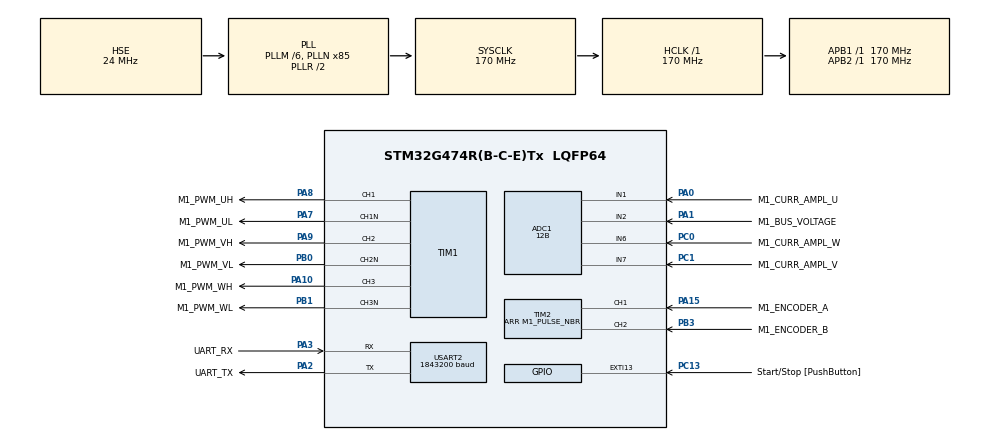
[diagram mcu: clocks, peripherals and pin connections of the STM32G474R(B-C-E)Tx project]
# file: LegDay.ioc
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ADC1.Channel-1\#ChannelRegularConversion=ADC_CHANNEL_2
ADC1.ClockPrescaler=ADC_CLOCK_ASYNC_DIV1
ADC1.ContinuousConvMode=DISABLE
ADC1.DMAContinuousRequests=DISABLE
ADC1.DataAlign=ADC_DATAALIGN_LEFT
ADC1.DiscontinuousConvMode=DISABLE
ADC1.EOCSelection=ADC_EOC_SINGLE_CONV
ADC1.EnableAnalogWatchDog1=false
ADC1.EnableAnalogWatchDog2=false
ADC1.EnableAnalogWatchDog3=false
ADC1.EnableInjectedConversion=ENABLE
ADC1.EnableRegularConversion=ENABLE
ADC1.ExternalTrigConv=ADC_SOFTWARE_START
ADC1.ExternalTrigConvEdge=ADC_EXTERNALTRIGCONVEDGE_NONE
ADC1.ExternalTrigInjecConv=ADC_EXTERNALTRIGINJEC_T1_TRGO
ADC1.ExternalTrigInjecConvEdge=ADC_EXTERNALTRIGINJECCONV_EDGE_RISING
ADC1.InjNumberOfConversion=3
ADC1.InjectedChannel-1\#ChannelInjectedConversion=ADC_CHANNEL_1
ADC1.InjectedChannel-2\#ChannelInjectedConversion=ADC_CHANNEL_7
ADC1.InjectedChannel-3\#ChannelInjectedConversion=ADC_CHANNEL_6
ADC1.InjectedConvMode=None
ADC1.InjectedOffset-1\#ChannelInjectedConversion=0
ADC1.InjectedOffset-2\#ChannelInjectedConversion=0
ADC1.InjectedOffset-3\#ChannelInjectedConversion=0
ADC1.InjectedOffsetNumber-1\#ChannelInjectedConversion=ADC_OFFSET_NONE
ADC1.InjectedOffsetNumber-2\#ChannelInjectedConversion=ADC_OFFSET_NONE
ADC1.InjectedOffsetNumber-3\#ChannelInjectedConversion=ADC_OFFSET_NONE
ADC1.InjectedRank-1\#ChannelInjectedConversion=1
ADC1.InjectedRank-2\#ChannelInjectedConversion=2
ADC1.InjectedRank-3\#ChannelInjectedConversion=3
ADC1.InjectedSamplingTime-1\#ChannelInjectedConversion=ADC_SAMPLETIME_6CYCLES_5
ADC1.InjectedSamplingTime-2\#ChannelInjectedConversion=ADC_SAMPLETIME_6CYCLES_5
ADC1.InjectedSamplingTime-3\#ChannelInjectedConversion=ADC_SAMPLETIME_6CYCLES_5
ADC1.LowPowerAutoWait=DISABLE
ADC1.NbrOfConversion=1
ADC1.NbrOfConversionFlag=1
ADC1.Offset-1\#ChannelRegularConversion=0
ADC1.OffsetNumber-1\#ChannelRegularConversion=ADC_OFFSET_NONE
ADC1.Overrun=ADC_OVR_DATA_PRESERVED
ADC1.Rank-1\#ChannelRegularConversion=1
ADC1.Resolution=ADC_RESOLUTION_12B
ADC1.SamplingTime-1\#ChannelRegularConversion=ADC_SAMPLETIME_47CYCLES_5
ADC1.ScanConvMode=ADC_SCAN_ENABLE
ADC1.master=1
Dma.Request0=USART2_RX
Dma.Request1=USART2_TX
Dma.USART2_RX.0.Direction=DMA_PERIPH_TO_MEMORY
Dma.USART2_RX.0.EventEnable=DISABLE
Dma.USART2_RX.0.Instance=DMA1_Channel1
Dma.USART2_RX.0.MemDataAlignment=DMA_MDATAALIGN_BYTE
Dma.USART2_RX.0.MemInc=DMA_MINC_ENABLE
Dma.USART2_RX.0.Mode=DMA_NORMAL
Dma.USART2_RX.0.PeriphDataAlignment=DMA_PDATAALIGN_BYTE
Dma.USART2_RX.0.PeriphInc=DMA_PINC_DISABLE
Dma.USART2_RX.0.Polarity=HAL_DMAMUX_REQ_GEN_RISING
Dma.USART2_RX.0.Priority=DMA_PRIORITY_LOW
Dma.USART2_RX.0.RequestNumber=1
Dma.USART2_RX.0.SignalID=NONE
Dma.USART2_RX.0.SyncEnable=DISABLE
Dma.USART2_RX.0.SyncPolarity=HAL_DMAMUX_SYNC_NO_EVENT
Dma.USART2_RX.0.SyncRequestNumber=1
Dma.USART2_RX.0.SyncSignalID=NONE
Dma.USART2_TX.1.Direction=DMA_MEMORY_TO_PERIPH
Dma.USART2_TX.1.EventEnable=DISABLE
Dma.USART2_TX.1.Instance=DMA1_Channel2
Dma.USART2_TX.1.MemDataAlignment=DMA_MDATAALIGN_BYTE
Dma.USART2_TX.1.MemInc=DMA_MINC_ENABLE
Dma.USART2_TX.1.Mode=DMA_NORMAL
Dma.USART2_TX.1.PeriphDataAlignment=DMA_PDATAALIGN_BYTE
Dma.USART2_TX.1.PeriphInc=DMA_PINC_DISABLE
Dma.USART2_TX.1.Polarity=HAL_DMAMUX_REQ_GEN_RISING
Dma.USART2_TX.1.Priority=DMA_PRIORITY_LOW
Dma.USART2_TX.1.RequestNumber=1
Dma.USART2_TX.1.SignalID=NONE
Dma.USART2_TX.1.SyncEnable=DISABLE
Dma.USART2_TX.1.SyncPolarity=HAL_DMAMUX_SYNC_NO_EVENT
Dma.USART2_TX.1.SyncRequestNumber=1
Dma.USART2_TX.1.SyncSignalID=NONE
ExtraMW=MotorControl
ExtraMW.MotorControl.Config=MotorControl
ExtraMW.MotorControl.Mode=MotorControl
ExtraMW.MotorControl.Root=MCSDK_v6.2.0-Full/MotorControl
ExtraMW.MotorControl.Template=templates
Mcu.Family=STM32G4
Mcu.Name=STM32G474R(B-C-E)Tx
Mcu.Package=LQFP64
MotorControl.ADC_AHBPERIPH=RCC_AHBPeriph_ADC1
MotorControl.ADC_CLOCK_WB_DIV=1
MotorControl.ADC_PERIPH=ADC1
MotorControl.ADC_REFERENCE_VOLTAGE=3.3
MotorControl.AUXILIARY_SPEED_MEASUREMENT_SELECTION=AUX_STATE_OBSERVER_PLL
MotorControl.AUX_STATE_OBSERVER_PLL=true
MotorControl.BOARD=NUCLEO-G474RE
MotorControl.BUS_VOLTAGE_READING=true
MotorControl.CCMRAM_ENABLED=false
MotorControl.CLOCK_FREQUENCY=CPU_CLK_170_MHZ
MotorControl.CLOCK_SOURCE=EXTERNAL
MotorControl.CPU_CLK_170_MHZ=true
MotorControl.CTLBOARD_NAME=NUCLEO-G474RE
MotorControl.CUBE_MX_VER=6.10.0
MotorControl.CURRENT_READING_TOPOLOGY=THREE_SHUNT
MotorControl.CURR_SAMPLING_TIME=6
MotorControl.DBG_MCU_LOAD_MEASURE=false
MotorControl.DEBUG_DAC_FUNCTIONALITY_EN=false
MotorControl.DRIVES_NUMBER_SELECTION=SINGLEDRIVE
MotorControl.DRIVE_NUMBER=1
MotorControl.DRIVE_TYPE=FOC
MotorControl.ENCODER=true
MotorControl.ENCODER_AVAILABLE=true
MotorControl.ENCODER_PPR=1024
MotorControl.ENC_A_GPIO_PIN=LL_GPIO_PIN_15
MotorControl.ENC_A_GPIO_PORT=GPIOA
MotorControl.ENC_B_GPIO_PIN=LL_GPIO_PIN_3
MotorControl.ENC_B_GPIO_PORT=GPIOB
MotorControl.ENC_ICx_FILTER=119
MotorControl.ENC_INVERT_SPEED=false
MotorControl.ENC_TIMER_SELECTION=ENC_TIM2
MotorControl.ENC_USE_CH3=false
MotorControl.EXT_CLK_24_MHZ=true
MotorControl.EXT_CLOCK_FREQUENCY=EXT_CLK_24_MHZ
MotorControl.FEEDBACK_NET_FILTERING=false
MotorControl.HALL_SENSORS_AVAILABLE=false
MotorControl.HIGH_SIDE_IDLE_STATE=false
MotorControl.HWV_CS=ThreeShunt_AmplifiedCurrents
MotorControl.HWV_PWM=DrivingHighAndLowSides
MotorControl.HW_COMPLEMENTED_LOW_SIDE=false
MotorControl.HW_DEAD_TIME_NS=1000
MotorControl.IPs=CORDIC,SYS,NVIC,RCC,MotorControl,TIM1,ADC1,TIM2,USART2,DMA
MotorControl.LOW_MEMORY_FOOTPRINT_REG=false
MotorControl.LOW_SIDE_IDLE_STATE=false
MotorControl.LOW_SIDE_SIGNALS_ENABLING=LS_PWM_TIMER
MotorControl.M1_ALIGNMENT_ANGLE_DEG=90
MotorControl.M1_ALIGNMENT_DURATION=700
MotorControl.M1_AMPLIFICATION_GAIN=20
MotorControl.M1_ANGC={0,0,0,0,0,0,0,0}
MotorControl.M1_AUXILIARY_SPEED_SENSOR=STO_PLL
MotorControl.M1_BEMF_CONSISTENCY_GAIN=64
MotorControl.M1_BEMF_CONSISTENCY_TOL=64
MotorControl.M1_BOARD_MAX_CURRENT=10
MotorControl.M1_BUS_VOLTAGE_READING=true
MotorControl.M1_CONSTANT1_D=18411
MotorControl.M1_CONSTANT1_Q=18411
MotorControl.M1_CONSTANT2_QD=9380
MotorControl.M1_CS_ADC_NUM=1
MotorControl.M1_CS_ADC_PHASE_SHARED=NONE
MotorControl.M1_CS_ADC_U=ADC1
MotorControl.M1_CS_ADC_V=ADC1
MotorControl.M1_CS_ADC_W=ADC1
MotorControl.M1_CS_CHANNEL_U=1
MotorControl.M1_CS_CHANNEL_V=7
MotorControl.M1_CS_CHANNEL_W=6
MotorControl.M1_CURRENT_AMPLIFICATION_TOPO=EXTERNAL
MotorControl.M1_CURRENT_SENSING_TOPO=THREE_SHUNT
MotorControl.M1_CURR_SAMPLING_TIME=6
MotorControl.M1_DBG_OPEN_LOOP_ENABLE=false
MotorControl.M1_DC_CURRENT_RS_MEAS=10
MotorControl.M1_DEFAULT_CONTROL_MODE=STC_SPEED_MODE
MotorControl.M1_DEFAULT_FLUX_COMPONENT=0
MotorControl.M1_DEFAULT_TARGET_SPEED_RPM=892
MotorControl.M1_DEFAULT_TORQUE_COMPONENT=0
MotorControl.M1_DISCONTINUOUS_PWM=false
MotorControl.M1_DP_TOPOLOGY=NONE
MotorControl.M1_DRIVE_TYPE=FOC
MotorControl.M1_ENCODER_PPR=1024
MotorControl.M1_ENC_AVERAGING_FIFO_DEPTH=16
MotorControl.M1_ENC_A_GPIO_PIN=LL_GPIO_PIN_15
MotorControl.M1_ENC_A_GPIO_PORT=GPIOA
MotorControl.M1_ENC_B_GPIO_PIN=LL_GPIO_PIN_3
MotorControl.M1_ENC_B_GPIO_PORT=GPIOB
MotorControl.M1_ENC_ICx_FILTER=119
MotorControl.M1_ENC_TIMER_SELECTION=ENC_TIM2
MotorControl.M1_ENC_USE_CH3=false
MotorControl.M1_F1=8192
MotorControl.M1_F2=16384
MotorControl.M1_FEED_FORWARD_CURRENT_REG_ENABLING=false
MotorControl.M1_FINAL_I_ALIGNMENT=10
MotorControl.M1_FLUX_WEAKENING_ENABLING=false
MotorControl.M1_FW_KIDIV=32768
MotorControl.M1_FW_KI_GAIN=5000
MotorControl.M1_FW_KPDIV=32768
MotorControl.M1_FW_KP_GAIN=3000
MotorControl.M1_FW_VOLTAGE_REF=985
MotorControl.M1_GAIN1=-11321
MotorControl.M1_GAIN2=8442
MotorControl.M1_HALL_PHASE_SHIFT=300
MotorControl.M1_HALL_SENSORS_PLACEMENT=DEGREES_120
MotorControl.M1_HIGH_SIDE_IDLE_STATE=false
MotorControl.M1_HW_DEAD_TIME_NS=1000
MotorControl.M1_ICL_ENABLED=false
MotorControl.M1_ID_DEMAG=-10
MotorControl.M1_IQMAX=10
MotorControl.M1_LDLQ_RATIO=1.000
MotorControl.M1_LOW_SIDE_IDLE_STATE=false
MotorControl.M1_LOW_SIDE_SIGNALS_ENABLING=LS_PWM_TIMER
MotorControl.M1_LS=0.00006
MotorControl.M1_MAX_APPLICATION_SPEED=2478
MotorControl.M1_MAX_MODULATION_INDEX=100
MotorControl.M1_MIN_APPLICATION_SPEED=0
MotorControl.M1_MOTOR_MAX_SPEED_RPM=2478
MotorControl.M1_MOTOR_NAME=MN5008
MotorControl.M1_MOTOR_RATED_FLUX=0.018109531
MotorControl.M1_MOTOR_VOLTAGE_CONSTANT=5.2
MotorControl.M1_MTPA_ENABLING=false
MotorControl.M1_NOMINAL_BUS_VOLTAGE_V=30
MotorControl.M1_NOMINAL_CURRENT=10
MotorControl.M1_OCP_TOPOLOGY=NONE
MotorControl.M1_OFST={0,0,0,0,0,0,0,0}
MotorControl.M1_ON_OVER_VOLTAGE=TURN_OFF_PWM
MotorControl.M1_OVERMODULATION=false
MotorControl.M1_OVP_THRESHOLD_HIGH=36
MotorControl.M1_OV_VOLTAGE_PROT_ENABLING=true
MotorControl.M1_OV_VOLTAGE_THRESHOLD_V=36
MotorControl.M1_PID_FLUX_KD_DEFAULT=100
MotorControl.M1_PID_FLUX_KI_DEFAULT=730
MotorControl.M1_PID_FLUX_KP_DEFAULT=2317
MotorControl.M1_PID_SPEED_KD_DEFAULT=0
MotorControl.M1_PID_SPEED_KI_DEFAULT=1
MotorControl.M1_PID_SPEED_KP_DEFAULT=2731
MotorControl.M1_PID_TORQUE_KD_DEFAULT=100
MotorControl.M1_PID_TORQUE_KI_DEFAULT=730
MotorControl.M1_PID_TORQUE_KP_DEFAULT=2317
MotorControl.M1_PLL_KI_GAIN=51
MotorControl.M1_PLL_KP_GAIN=1154
MotorControl.M1_POLE_PAIR_NUM=14
MotorControl.M1_POSITION_CTRL_ENABLING=false
MotorControl.M1_POTENTIOMETER_ENABLE=false
MotorControl.M1_POWERBOARD_NAME=~BOOSTXL-DRV8323Rx
MotorControl.M1_PWM_CHARGE_BOOT_CAP_DUTY_CYCLES=0.000
MotorControl.M1_PWM_CHARGE_BOOT_CAP_MS=10
MotorControl.M1_PWM_DRIVER_PN=DRV8323
MotorControl.M1_PWM_FREQUENCY=16000
MotorControl.M1_PWM_TIMER_BRK_IRQ=TIM1_BRK_TIM15
MotorControl.M1_PWM_TIMER_SELECTION=PWM_TIM1
MotorControl.M1_PWM_TIMER_UP_IRQ=TIM1_UP_TIM16
MotorControl.M1_REGULATION_EXECUTION_RATE=1
MotorControl.M1_RS=0.15
MotorControl.M1_RSHUNT=0.007
MotorControl.M1_SEGDIV=0
MotorControl.M1_SHARED_SIGNAL_ENABLE=false
MotorControl.M1_SPD_DIFFERENTIAL_TERM_ENABLING=false
MotorControl.M1_SPEED_LOOP_FREQUENCY_HZ=1000
MotorControl.M1_SPEED_SENSOR=QUAD_ENCODER
MotorControl.M1_SP_KDDIV=16
MotorControl.M1_SP_KIDIV=16384
MotorControl.M1_SP_KPDIV=2048
MotorControl.M1_SS_MEAS_ERRORS_BEFORE_FAULTS=3
MotorControl.M1_STO_FIFO_DEPTH_01HZ=64
MotorControl.M1_STO_FIFO_DEPTH_DPP=64
MotorControl.M1_SW_DEADTIME_NS=850
MotorControl.M1_TEMPERATURE_READING=false
MotorControl.M1_TF_KDDIV=8192
MotorControl.M1_TF_KIDIV=16384
MotorControl.M1_TF_KPDIV=8192
MotorControl.M1_TNOISE_NS=1000
MotorControl.M1_TRISE_NS=1000
MotorControl.M1_UD_VOLTAGE_THRESHOLD_V=6
MotorControl.M1_USE_INTERNAL_OPAMP=false
MotorControl.M1_UV_VOLTAGE_PROT_ENABLING=true
MotorControl.M1_VARIANCE_THRESHOLD=0.25
MotorControl.M1_VBUS_ADC=ADC1
MotorControl.M1_VBUS_ADC_SAMPLING_TIME=47
MotorControl.M1_VBUS_CHANNEL=ADC_CHANNEL_2
MotorControl.M1_VBUS_PARTITIONING_FACTOR=0.052164840897235255
MotorControl.MAX_READABLE_CURRENT=11.786
MotorControl.MCPA_OVER_UART_A_STREAM=10
MotorControl.MCP_ASPEP_OVER_UART=true
MotorControl.MCP_ASYNC_EN=true
MotorControl.MCP_ASYNC_OVER_ASPEP_EN=true
MotorControl.MCP_ASYNC_OVER_UART_A_EN=true
MotorControl.MCP_DMACH_RX_UART_A=1
MotorControl.MCP_DMACH_TX_UART_A=2
MotorControl.MCP_DMA_RX_UART_A=DMA1
MotorControl.MCP_DMA_TX_UART_A=DMA1
MotorControl.MCP_EN=true
MotorControl.MCP_IRQ_HANDLER_DMA_RX_UART_A=DMA1_Channel1_IRQHandler
MotorControl.MCP_IRQ_HANDLER_UART_A=USART2_IRQHandler
MotorControl.MCP_OVER_ASPEP_EN=true
MotorControl.MCP_OVER_STLNK_EN=false
MotorControl.MCP_OVER_UART_A_EN=true
MotorControl.MCP_OVER_UART_B_EN=false
MotorControl.MCP_RX_SYNC_PAYLOAD_MAX=128
MotorControl.MCP_TX_ASYNC_PAYLOAD_MAX_UART_A=2048
MotorControl.MCP_TX_SYNC_PAYLOAD_MAX=128
MotorControl.MCU=STM32G474RE
MotorControl.MCU_FAMILY=STM32G4
MotorControl.MCU_LINE=STM32G4x4
MotorControl.MCU_NAME=STM32G474R(B-C-E)Tx
MotorControl.MCU_PACKAGE=LQFP64
MotorControl.MCU_TYPE=STM32G474RE
MotorControl.MCU_USERNAME=STM32G474RETx
MotorControl.MC_WORKBENCH_VERSION=6.2.0
MotorControl.MOTOR_PROFILER=false
MotorControl.MOTOR_TYPE=PMSM
MotorControl.ON_OVER_VOLTAGE=TURN_OFF_PWM
MotorControl.OV_VOLTAGE_PROT_ENABLING=true
MotorControl.PHASE_UH_GPIO_PIN=LL_GPIO_PIN_8
MotorControl.PHASE_UH_GPIO_PORT=GPIOA
MotorControl.PHASE_UH_POLARITY=H_ACTIVE_HIGH
MotorControl.PHASE_UL_GPIO_PIN=LL_GPIO_PIN_7
MotorControl.PHASE_UL_GPIO_PORT=GPIOA
MotorControl.PHASE_UL_POLARITY=L_ACTIVE_HIGH
MotorControl.PHASE_U_CURR_ADC=ADC1
MotorControl.PHASE_U_CURR_CHANNEL=ADC_CHANNEL_1
MotorControl.PHASE_U_GPIO_PIN=LL_GPIO_PIN_0
MotorControl.PHASE_U_GPIO_PORT=GPIOA
MotorControl.PHASE_VH_GPIO_PIN=LL_GPIO_PIN_9
MotorControl.PHASE_VH_GPIO_PORT=GPIOA
MotorControl.PHASE_VH_POLARITY=H_ACTIVE_HIGH
MotorControl.PHASE_VL_GPIO_PIN=LL_GPIO_PIN_0
MotorControl.PHASE_VL_GPIO_PORT=GPIOB
MotorControl.PHASE_VL_POLARITY=L_ACTIVE_HIGH
MotorControl.PHASE_V_CURR_ADC=ADC1
MotorControl.PHASE_V_CURR_CHANNEL=ADC_CHANNEL_7
MotorControl.PHASE_V_GPIO_PIN=LL_GPIO_PIN_1
MotorControl.PHASE_V_GPIO_PORT=GPIOC
MotorControl.PHASE_WH_GPIO_PIN=LL_GPIO_PIN_10
MotorControl.PHASE_WH_GPIO_PORT=GPIOA
MotorControl.PHASE_WH_POLARITY=H_ACTIVE_HIGH
MotorControl.PHASE_WL_GPIO_PIN=LL_GPIO_PIN_1
MotorControl.PHASE_WL_GPIO_PORT=GPIOB
MotorControl.PHASE_WL_POLARITY=L_ACTIVE_HIGH
MotorControl.PHASE_W_CURR_ADC=ADC1
MotorControl.PHASE_W_CURR_CHANNEL=ADC_CHANNEL_6
MotorControl.PHASE_W_GPIO_PIN=LL_GPIO_PIN_0
MotorControl.PHASE_W_GPIO_PORT=GPIOC
MotorControl.POTENTIOMETER_READING=false
MotorControl.PWM_FREQUENCY=16000
MotorControl.PWM_TIMER_SELECTION=PWM_TIM1
MotorControl.REGULATION_EXECUTION_RATE=1
MotorControl.RTOS=NONE
MotorControl.R_BRAKE_SWITCH_OFF_THRES_V=29
MotorControl.SINGLEDRIVE=true
MotorControl.SPD_DIFFERENTIAL_TERM_ENABLING=false
MotorControl.SPEED_SENSOR_SELECTION=ENCODER
MotorControl.START_STOP_BTN=true
MotorControl.START_STOP_GPIO_PIN=LL_GPIO_PIN_13
MotorControl.START_STOP_GPIO_PORT=GPIOC
MotorControl.START_STOP_POLARITY=DIN_ACTIVE_LOW
MotorControl.START_STOP_POLARITY_EDGE=GPIO_NOPULL
MotorControl.STM32G474RE=true
MotorControl.SW_DEADTIME_NS=850
MotorControl.TEMPERATURE_READING=false
MotorControl.TFDIFFERENTIAL_TERM_ENABLING=false
MotorControl.THREE_SHUNT=true
MotorControl.TRISE_NS=1000
MotorControl.USART_RX_GPIO_PIN=LL_GPIO_PIN_3
MotorControl.USART_RX_GPIO_PORT=GPIOA
MotorControl.USART_SELECTION=USE_USART2
MotorControl.USART_SELECTION_A=USART2
MotorControl.USART_SPEED=1843200
MotorControl.USART_TX_GPIO_PIN=LL_GPIO_PIN_2
MotorControl.USART_TX_GPIO_PORT=GPIOA
MotorControl.USE_3OPAMPS=false
MotorControl.USE_INTERNAL_OPAMP=false
MotorControl.UV_VOLTAGE_PROT_ENABLING=true
MotorControl.VBUS_ADC=ADC1
MotorControl.VBUS_ADC_SAMPLING_TIME=47
MotorControl.VBUS_CHANNEL=ADC_CHANNEL_2
MotorControl.VBUS_GPIO_PIN=LL_GPIO_PIN_1
MotorControl.VBUS_GPIO_PORT=GPIOA
MotorControl.WB_UI_CUTOFF_FREQUENCY=6000
MotorControl.WB_UI_ENCODER_HAS_INDEX_PIN=true
MotorControl.WB_UI_FLUX_TARGET=0
MotorControl.WB_UI_FRICTION=0.22
MotorControl.WB_UI_INERTIA=4.22
MotorControl.WB_UI_MAGNETIC_STRUCTURE=SM-PMSM
MotorControl.WB_UI_MAX_CURRENT=10
MotorControl.WB_UI_MAX_NOMINAL_DC_VOLTAGE=30
MotorControl.WB_UI_MOTOR_DESCRIPTION=Pully Configuration
MotorControl.WB_UI_PW_BOARD_MAX_RATED_CURRENT=15
MotorControl.WB_UI_PW_BOARD_MAX_VOLTAGE=60
MotorControl.WB_UI_PW_BOARD_MIN_VOLTAGE=6
MotorControl.WB_UI_VPOL=1.65
MotorControl.WB_to_Mx_template_version=23-09-08
MotorControl.WB_to_Mx_version=6.2.0
NVIC.ADC1_2_IRQn=true\:2\:0\:true\:true\:false\:5\:true\:true\:true
NVIC.DMA1_Channel1_IRQn=true\:3\:0\:true\:true\:false\:2\:true\:true\:true
NVIC.EXTI15_10_IRQn=true\:3\:0\:false\:true\:false\:7\:true\:true\:true
NVIC.PriorityGroup=NVIC_PRIORITYGROUP_3
NVIC.TIM1_BRK_TIM15_IRQn=true\:4\:1\:true\:true\:false\:3\:true\:true\:true
NVIC.TIM1_UP_TIM16_IRQn=true\:0\:0\:false\:true\:false\:4\:true\:true\:true
NVIC.TIM2_IRQn=true\:3\:0\:false\:true\:false\:6\:true\:true\:true
NVIC.TIM5_IRQn=true\:0\:0\:false\:false\:true\:true\:true\:true
NVIC.USART2_IRQn=true\:3\:1\:true\:true\:false\:1\:true\:true\:true
PA0.GPIO_Label=M1_CURR_AMPL_U
PA0.Mode=IN1-Single-Ended
PA0.Signal=ADC1_IN1
PA1.GPIO_Label=M1_BUS_VOLTAGE
PA1.Mode=IN2-Single-Ended
PA1.Signal=ADC1_IN2
PA10.GPIO_Label=M1_PWM_WH
PA10.GPIO_PuPd=GPIO_PULLDOWN
PA10.GPIO_Speed=GPIO_SPEED_FREQ_HIGH
PA10.Signal=S_TIM1_CH3
PA13.GPIO_Label=TMS
PA13.Mode=Serial_Wire
PA13.Signal=SYS_JTMS-SWDIO
PA14.GPIO_Label=TCK
PA14.Mode=Serial_Wire
PA14.Signal=SYS_JTCK-SWCLK
PA15.GPIO_Label=M1_ENCODER_A
PA15.Signal=S_TIM2_CH1
PA2.GPIO_Label=UART_TX
PA2.GPIO_Mode=GPIO_MODE_AF_PP
PA2.GPIO_PuPd=GPIO_NOPULL
PA2.GPIO_Speed=GPIO_SPEED_FREQ_LOW
PA2.Mode=Asynchronous
PA2.Signal=USART2_TX
PA3.GPIO_Label=UART_RX
PA3.GPIO_Mode=GPIO_MODE_AF_PP
PA3.GPIO_PuPd=GPIO_NOPULL
PA3.GPIO_Speed=GPIO_SPEED_FREQ_LOW
PA3.Mode=Asynchronous
PA3.Signal=USART2_RX
PA7.GPIO_Label=M1_PWM_UL
PA7.GPIO_PuPd=GPIO_PULLDOWN
PA7.GPIO_Speed=GPIO_SPEED_FREQ_HIGH
PA7.Mode=PWM Generation1 CH1 CH1N
PA7.Signal=TIM1_CH1N
PA8.GPIO_Label=M1_PWM_UH
PA8.GPIO_PuPd=GPIO_PULLDOWN
PA8.GPIO_Speed=GPIO_SPEED_FREQ_HIGH
PA8.Signal=S_TIM1_CH1
PA9.GPIO_Label=M1_PWM_VH
PA9.GPIO_PuPd=GPIO_PULLDOWN
PA9.GPIO_Speed=GPIO_SPEED_FREQ_HIGH
PA9.Signal=S_TIM1_CH2
PB0.GPIO_Label=M1_PWM_VL
PB0.GPIO_PuPd=GPIO_PULLDOWN
PB0.GPIO_Speed=GPIO_SPEED_FREQ_HIGH
PB0.Mode=PWM Generation2 CH2 CH2N
PB0.Signal=TIM1_CH2N
PB1.GPIO_Label=M1_PWM_WL
PB1.GPIO_PuPd=GPIO_PULLDOWN
PB1.GPIO_Speed=GPIO_SPEED_FREQ_HIGH
PB1.Mode=PWM Generation3 CH3 CH3N
PB1.Signal=TIM1_CH3N
PB3.GPIO_Label=M1_ENCODER_B
PB3.Signal=S_TIM2_CH2
PC0.GPIO_Label=M1_CURR_AMPL_W
PC0.Mode=IN6-Single-Ended
PC0.Signal=ADC1_IN6
PC1.GPIO_Label=M1_CURR_AMPL_V
PC1.Mode=IN7-Single-Ended
PC1.Signal=ADC1_IN7
PC13.GPIO_Label=Start/Stop [PushButton]
PC13.GPIO_ModeDefaultEXTI=GPIO_MODE_IT_FALLING
PC13.GPIO_PuPd=GPIO_NOPULL
PC13.Signal=GPXTI13
PF0-OSC_IN.Mode=HSE-External-Oscillator
PF0-OSC_IN.Signal=RCC_OSC_IN
PF1-OSC_OUT.Mode=HSE-External-Oscillator
PF1-OSC_OUT.Signal=RCC_OSC_OUT
ProjectManager.HeapSize=0x800
ProjectManager.StackSize=0x800
ProjectManager.TargetToolchain=STM32CubeIDE
RCC.ADC12CLockSelection=RCC_ADC12CLKSOURCE_PLL
RCC.ADC12Freq_Value=42500000
RCC.ADC345CLockSelection=RCC_ADC345CLKSOURCE_PLL
RCC.ADC345Freq_Value=42500000
RCC.AHBFreq_Value=170000000
RCC.APB1Freq_Value=170000000
RCC.APB1TimFreq_Value=170000000
RCC.APB2Freq_Value=170000000
RCC.APB2TimFreq_Value=170000000
RCC.CK48CLockSelection=RCC_USBCLKSOURCE_PLL
RCC.CortexFreq_Value=170000000
RCC.EXTERNAL_CLOCK_VALUE=12288000
RCC.EnbaleCSS=true
RCC.HCLKFreq_Value=170000000
RCC.HSE_VALUE=24000000
RCC.HSI48_VALUE=48000000
RCC.HSI_VALUE=16000000
RCC.LSE_VALUE=32768
RCC.PLLM=RCC_PLLM_DIV6
RCC.PLLN=85
RCC.PLLP=RCC_PLLP_DIV8
RCC.PLLSourceVirtual=RCC_PLLSOURCE_HSE
RCC.PREFETCH_ENABLE=1
RCC.SYSCLKFreq_VALUE=170000000
RCC.SYSCLKSource=RCC_SYSCLKSOURCE_PLLCLK
RCC.USBFreq_Value=170000000
RCC.VCOOutputFreq_Value=340000000
SH.S_TIM1_CH1.0=TIM1_CH1,PWM Generation1 CH1 CH1N
SH.S_TIM1_CH2.0=TIM1_CH2,PWM Generation2 CH2 CH2N
SH.S_TIM1_CH3.0=TIM1_CH3,PWM Generation3 CH3 CH3N
SH.S_TIM2_CH1.0=TIM2_CH1,Encoder_Interface
SH.S_TIM2_CH2.0=TIM2_CH2,Encoder_Interface
STMicroelectronics.X-CUBE-AI.8.1.0.ActivationBufferSizeList=5340
STMicroelectronics.X-CUBE-AI.8.1.0.ActivationBuffers=pool0
STMicroelectronics.X-CUBE-AI.8.1.0.ActivationNames=pool0
STMicroelectronics.X-CUBE-AI.8.1.0.ActivationSizes=AI_NETWORK_DATA_ACTIVATION_1_SIZE
STMicroelectronics.X-CUBE-AI.8.1.0.ApplicationCcDeviceJjApplication=ApplicationTemplate
STMicroelectronics.X-CUBE-AI.8.1.0.HeapSize=0x800
STMicroelectronics.X-CUBE-AI.8.1.0.InternalRamActivationBufferMaxSize=AI_NETWORK_DATA_ACTIVATIONS_SIZE
STMicroelectronics.X-CUBE-AI.8.1.0.LatestDirectoryUsed-098abfad738e50c5799519d2550cbfd076d351c164bf65d74cd62cbe9e5408c5=E\:\\MyProjects\\GuardDog\\isaac\\IsaacGymEnvs\\isaacgymenvs
STMicroelectronics.X-CUBE-AI.8.1.0.MaximumNumberOfInputLayer=1
STMicroelectronics.X-CUBE-AI.8.1.0.MaximumNumberOfOutputLayer=3
STMicroelectronics.X-CUBE-AI.8.1.0.MaximumSizeOfInputLayer=1
STMicroelectronics.X-CUBE-AI.8.1.0.MaximumSizeOfOutputLayer=1,1,1
STMicroelectronics.X-CUBE-AI.8.1.0.ModelActualCompression-098abfad738e50c5799519d2550cbfd076d351c164bf65d74cd62cbe9e5408c5=0.0
STMicroelectronics.X-CUBE-AI.8.1.0.ModelCompression-098abfad738e50c5799519d2550cbfd076d351c164bf65d74cd62cbe9e5408c5=Lossless
STMicroelectronics.X-CUBE-AI.8.1.0.ModelFlashOccupation-098abfad738e50c5799519d2550cbfd076d351c164bf65d74cd62cbe9e5408c5=60582
STMicroelectronics.X-CUBE-AI.8.1.0.ModelHashList=098abfad738e50c5799519d2550cbfd076d351c164bf65d74cd62cbe9e5408c5
STMicroelectronics.X-CUBE-AI.8.1.0.ModelKind-098abfad738e50c5799519d2550cbfd076d351c164bf65d74cd62cbe9e5408c5=ONNX
STMicroelectronics.X-CUBE-AI.8.1.0.ModelMacc-098abfad738e50c5799519d2550cbfd076d351c164bf65d74cd62cbe9e5408c5=13692
STMicroelectronics.X-CUBE-AI.8.1.0.ModelName-098abfad738e50c5799519d2550cbfd076d351c164bf65d74cd62cbe9e5408c5=network
STMicroelectronics.X-CUBE-AI.8.1.0.ModelNameList=network
STMicroelectronics.X-CUBE-AI.8.1.0.ModelRamOccupation-098abfad738e50c5799519d2550cbfd076d351c164bf65d74cd62cbe9e5408c5=5340
STMicroelectronics.X-CUBE-AI.8.1.0.ModelStructureFile-098abfad738e50c5799519d2550cbfd076d351c164bf65d74cd62cbe9e5408c5=E\:\\MyProjects\\GuardDog\\isaac\\IsaacGymEnvs\\isaacgymenvs\\pendulum-eff1p5.onnx
STMicroelectronics.X-CUBE-AI.8.1.0.ModelType-098abfad738e50c5799519d2550cbfd076d351c164bf65d74cd62cbe9e5408c5=Saved model
STMicroelectronics.X-CUBE-AI.8.1.0.ReadyForCodeGeneration=true
STMicroelectronics.X-CUBE-AI.8.1.0.StackSize=0x800
STMicroelectronics.X-CUBE-AI.8.1.0.WorkingBufferStartAddrList=0xFFFFFFFF
STMicroelectronics.X-CUBE-AI.8.1.0.XAaCUBEAaAICcArtificialOoIntelligenceJjCore=true
STMicroelectronics.X-CUBE-AI.8.1.0.copyWeightToRam=false
STMicroelectronics.X-CUBE-AI.8.1.0.copyWeightToRam-098abfad738e50c5799519d2550cbfd076d351c164bf65d74cd62cbe9e5408c5=false
STMicroelectronics.X-CUBE-AI.8.1.0.customLayerConfigEnabled=false
STMicroelectronics.X-CUBE-AI.8.1.0.customLayerConfigEnabled-098abfad738e50c5799519d2550cbfd076d351c164bf65d74cd62cbe9e5408c5=false
STMicroelectronics.X-CUBE-AI.8.1.0.noOnnxIoTranspose=false
STMicroelectronics.X-CUBE-AI.8.1.0.noOnnxIoTranspose-098abfad738e50c5799519d2550cbfd076d351c164bf65d74cd62cbe9e5408c5=false
STMicroelectronics.X-CUBE-AI.8.1.0.useInputAllocation=true
STMicroelectronics.X-CUBE-AI.8.1.0.useInputAllocation-098abfad738e50c5799519d2550cbfd076d351c164bf65d74cd62cbe9e5408c5=true
STMicroelectronics.X-CUBE-AI.8.1.0.useOutputAllocation=true
STMicroelectronics.X-CUBE-AI.8.1.0.useOutputAllocation-098abfad738e50c5799519d2550cbfd076d351c164bf65d74cd62cbe9e5408c5=true
TIM1.AutoReloadPreload=TIM_AUTORELOAD_PRELOAD_DISABLE
TIM1.AutomaticOutput=TIM_AUTOMATICOUTPUT_DISABLE
TIM1.Break2Filter=3
TIM1.Break2Polarity=TIM_BREAK2POLARITY_HIGH
TIM1.Break2State=TIM_BREAK2_DISABLE
TIM1.BreakFilter=0
TIM1.BreakPolarity=TIM_BREAKPOLARITY_HIGH
TIM1.BreakState=TIM_BREAK_DISABLE
TIM1.Channel=TIM_CHANNEL_4
TIM1.Channel-PWM\ Generation1\ CH1\ CH1N=TIM_CHANNEL_1
TIM1.Channel-PWM\ Generation2\ CH2\ CH2N=TIM_CHANNEL_2
TIM1.Channel-PWM\ Generation3\ CH3\ CH3N=TIM_CHANNEL_3
TIM1.Channel-PWM\ Generation4\ No\ Output=TIM_CHANNEL_4
TIM1.ClearInputSource=TIM_CLEARINPUTSOURCE_NONE
TIM1.ClockDivision=TIM_CLOCKDIVISION_DIV2
TIM1.CounterMode=TIM_COUNTERMODE_CENTERALIGNED1
TIM1.DeadTime=((DEAD_TIME_COUNTS) / 2)
TIM1.LockLevel=TIM_LOCKLEVEL_OFF
TIM1.OC1Preload_PWM=ENABLE
TIM1.OC2Preload_PWM=ENABLE
TIM1.OC3Preload_PWM=ENABLE
TIM1.OC4Preload_PWM=ENABLE
TIM1.OCFastMode_PWM=TIM_OCFAST_DISABLE
TIM1.OCIdleState_1=TIM_OCIDLESTATE_RESET
TIM1.OCIdleState_2=TIM_OCIDLESTATE_RESET
TIM1.OCIdleState_3=TIM_OCIDLESTATE_RESET
TIM1.OCIdleState_4=TIM_OCIDLESTATE_RESET
TIM1.OCMode_PWM-PWM\ Generation1\ CH1\ CH1N=TIM_OCMODE_PWM1
TIM1.OCMode_PWM-PWM\ Generation2\ CH2\ CH2N=TIM_OCMODE_PWM1
TIM1.OCMode_PWM-PWM\ Generation3\ CH3\ CH3N=TIM_OCMODE_PWM1
TIM1.OCMode_PWM-PWM\ Generation4\ No\ Output=TIM_OCMODE_PWM2
TIM1.OCNIdleState_1=TIM_OCNIDLESTATE_RESET
TIM1.OCNIdleState_2=TIM_OCNIDLESTATE_RESET
TIM1.OCNIdleState_3=TIM_OCNIDLESTATE_RESET
TIM1.OCNPolarity_1=TIM_OCNPOLARITY_HIGH
TIM1.OCNPolarity_2=TIM_OCNPOLARITY_HIGH
TIM1.OCNPolarity_3=TIM_OCNPOLARITY_HIGH
TIM1.OCPolarity_1=TIM_OCPOLARITY_HIGH
TIM1.OCPolarity_2=TIM_OCPOLARITY_HIGH
TIM1.OCPolarity_3=TIM_OCPOLARITY_HIGH
TIM1.OCPolarity_4=TIM_OCPOLARITY_HIGH
TIM1.OffStateIDLEMode=TIM_OSSI_ENABLE
TIM1.OffStateRunMode=TIM_OSSR_ENABLE
TIM1.PeriodNoDither=((PWM_PERIOD_CYCLES) / 2)
TIM1.Prescaler=((TIM_CLOCK_DIVIDER) - 1)
TIM1.PulseNoDither_1=((PWM_PERIOD_CYCLES) / 4)
TIM1.PulseNoDither_2=((PWM_PERIOD_CYCLES) / 4)
TIM1.PulseNoDither_3=((PWM_PERIOD_CYCLES) / 4)
TIM1.PulseNoDither_4=(((PWM_PERIOD_CYCLES) / 2) - (HTMIN))
TIM1.RepetitionCounter=(REP_COUNTER)
TIM1.SourceBRK2DigInput=TIM_BREAKINPUTSOURCE_DISABLE
TIM1.SourceBRKDigInput=TIM_BREAKINPUTSOURCE_DISABLE
TIM1.TIM_MasterOutputTrigger=TIM_TRGO_OC4REF
TIM1.TIM_MasterOutputTrigger2=TIM_TRGO2_RESET
TIM1.TIM_MasterSlaveMode=TIM_MASTERSLAVEMODE_DISABLE
TIM1.TIM_SlaveMode=TIM_SLAVEMODE_TRIGGER
TIM2.EncoderMode=TIM_ENCODERMODE_TI12
TIM2.IC1Filter=M1_ENC_IC_FILTER
TIM2.IC1Polarity=TIM_ICPOLARITY_RISING
TIM2.IC2Filter=M1_ENC_IC_FILTER
TIM2.IC2Polarity=TIM_ICPOLARITY_RISING
TIM2.PeriodNoDither=M1_PULSE_NBR
TIM3.Prescaler=17000
TIM5.PeriodNoDither=10000
TIM5.Prescaler=170
USART2.BaudRate=1843200
USART2.VirtualMode-Asynchronous=VM_ASYNC
USART2.WordLength=WORDLENGTH_8B
VP_CORDIC_VS_CORDIC.Mode=CORDIC_Activate
VP_CRC_VS_CRC.Mode=CRC_Activate
VP_MotorControl_MC_ENABLED.Mode=Enabled
VP_STMicroelectronics.X-CUBE-AI_VS_ArtificialOoIntelligenceJjXAaCUBEAaAI_8.1.0.Mode=ArtificialOoIntelligenceJjXAaCUBEAaAI
VP_STMicroelectronics.X-CUBE-AI_VS_DeviceJjApplication_8.1.0.Mode=DeviceJjApplication
VP_SYS_VS_DBSignals.Mode=DisableDeadBatterySignals
VP_TIM1_VS_ClockSourceITR.Mode=TriggerSource_ITR1
VP_TIM1_VS_ControllerModeTrigger.Mode=Trigger Mode
VP_TIM1_VS_no_output4.Mode=PWM Generation4 No Output
VP_TIM3_VS_ClockSourceINT.Mode=Internal
VP_TIM5_VS_ClockSourceINT.Mode=Internal
board=custom

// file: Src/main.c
/* USER CODE BEGIN Header */
/**
  ******************************************************************************
  * @file           : main.c
  * @brief          : Main program body
  ******************************************************************************
  * @attention
  *
  * Copyright (c) 2023 STMicroelectronics.
  * All rights reserved.
  *
  * This software is licensed under terms that can be found in the LICENSE file
  * in the root directory of this software component.
  * If no LICENSE file comes with this software, it is provided AS-IS.
  *
  ******************************************************************************
  */
/* USER CODE END Header */
#include "main.h"
#include "adc.h"
#include "cordic.h"
#include "crc.h"
#include "dma.h"
#include "tim.h"
#include "usart.h"
#include "gpio.h"
#include "app_x-cube-ai.h"

/* USER CODE BEGIN Includes */
#include <math.h>
#include <stdint.h>
#include "network.h"
/* USER CODE END Includes */

/* USER CODE BEGIN PD */
#define VEL_SCALE 20
#define NUM_FLOATS 8
#define MAX_EFFORT 0.175   //Nm
#define TORQUE_K   0.0562 //Nm/A
/* USER CODE END PD */

/* USER CODE BEGIN PV */
union floatUnion {
    float floatValue[NUM_FLOATS];
    uint8_t bytes[NUM_FLOATS * sizeof(float)];
};
union floatUnion data;

float sin_encode, cos_encode;
float vel_scaled;

ai_float in_data1[AI_NETWORK_IN_1_SIZE];
ai_float out_data1[AI_NETWORK_OUT_1_SIZE];
ai_float out_data2[AI_NETWORK_OUT_2_SIZE];
ai_float out_data3[AI_NETWORK_OUT_3_SIZE];
volatile uint8_t data_flag;
float action;
/* USER CODE END PV */

void SystemClock_Config(void);
static void MX_NVIC_Init(void);
/* USER CODE BEGIN PFP */
void convert_angle(float angle, float *sin_component, float *cos_component);
float scale_vel(float rpm);
float clip(float value, float min, float max);
/* USER CODE END PFP */

int main(void)
{
  /* USER CODE BEGIN 1 */
  data_flag=0;
  /* USER CODE END 1 */

  /* MCU Configuration--------------------------------------------------------*/

  /* Reset of all peripherals, Initializes the Flash interface and the Systick. */
  HAL_Init();

  /* Configure the system clock */
  SystemClock_Config();

  /* Initialize all configured peripherals */
  MX_GPIO_Init();
  MX_DMA_Init();
  MX_ADC1_Init();
  MX_CORDIC_Init();
  MX_TIM1_Init();
  MX_TIM2_Init();
  MX_USART2_UART_Init();
  MX_MotorControl_Init();
  MX_CRC_Init();
  MX_TIM3_Init();
  MX_TIM5_Init();
  MX_X_CUBE_AI_Init();

  /* Initialize interrupts */
  MX_NVIC_Init();
  /* USER CODE BEGIN 2 */
  MC_StartMotor1();
//  MC_ProgramSpeedRampMotor1_F(-250, 1000);
  MC_ProgramTorqueRampMotor1_F(0.0, 0);
  HAL_TIM_Base_Start_IT(&htim5);

  /* USER CODE END 2 */

  /* Infinite loop */
  /* USER CODE BEGIN WHILE */
  while (1)
  {
    if(data_flag)
    {
      TIM3->CNT = 0;
      HAL_TIM_Base_Start(&htim3);

      float enc_mec_angle = (float)ENCODER_M1._Super.hMecAngle/65536*2*M_PI;
      convert_angle(enc_mec_angle, &sin_encode, &cos_encode);
      vel_scaled = scale_vel(MC_GetAverageMecSpeedMotor1_F());

      in_data1[0] = sin_encode; // Sin Encoding
      in_data1[1] = cos_encode; // Cosine Encoding
      in_data1[2] = vel_scaled; // Velocity
      MX_X_CUBE_AI_Process();
      action = clip(out_data1[0], -1.0, 1.0) * MAX_EFFORT/TORQUE_K; //Result is in Amps
      MC_ProgramTorqueRampMotor1_F(action, 0);
      HAL_TIM_Base_Stop(&htim3);
      data.floatValue[0] = out_data1[0]; // Value
      data.floatValue[1] = out_data2[0]; // Mu
      data.floatValue[2] = out_data3[0]; // STD

      //  ab_f_t m1_ab = MC_GetIabMotor1_F();
      //  qd_f_t m1_qd MC_GetIqdMotor1_F();
      //  qd_f_t m1_qdref MC_GetIqdrefMotor1_F();
//      data.floatValue[0] = (float)TIM3->CNT/10000.0;
//      data.floatValue[1] = MC_GetMecSpeedReferenceMotor1_F();
//      data.floatValue[2] = MC_GetAverageMecSpeedMotor1_F();
//      data.floatValue[3] = MC_GetTerefMotor1_F(); //electrical torque reference
//      data.floatValue[4] = MC_GetAveragePowerMotor1_F();
      data.floatValue[5] = sin_encode;
      data.floatValue[6] = cos_encode;
      data.floatValue[7] = vel_scaled;
      // HAL_UART_Transmit(&huart2, data.bytes, sizeof(data.bytes), 100);

      data_flag = 0;
    }
  }
    /* USER CODE END WHILE */

}

void SystemClock_Config(void)
{
  RCC_OscInitTypeDef RCC_OscInitStruct = {0};
  RCC_ClkInitTypeDef RCC_ClkInitStruct = {0};

  /** Configure the main internal regulator output voltage
  */
  HAL_PWREx_ControlVoltageScaling(PWR_REGULATOR_VOLTAGE_SCALE1_BOOST);

  /** Initializes the RCC Oscillators according to the specified parameters
  * in the RCC_OscInitTypeDef structure.
  */
  RCC_OscInitStruct.OscillatorType = RCC_OSCILLATORTYPE_HSE;
  RCC_OscInitStruct.HSEState = RCC_HSE_ON;
  RCC_OscInitStruct.PLL.PLLState = RCC_PLL_ON;
  RCC_OscInitStruct.PLL.PLLSource = RCC_PLLSOURCE_HSE;
  RCC_OscInitStruct.PLL.PLLM = RCC_PLLM_DIV6;
  RCC_OscInitStruct.PLL.PLLN = 85;
  RCC_OscInitStruct.PLL.PLLP = RCC_PLLP_DIV8;
  RCC_OscInitStruct.PLL.PLLQ = RCC_PLLQ_DIV2;
  RCC_OscInitStruct.PLL.PLLR = RCC_PLLR_DIV2;
  if (HAL_RCC_OscConfig(&RCC_OscInitStruct) != HAL_OK)
  {
    Error_Handler();
  }

  /** Initializes the CPU, AHB and APB buses clocks
  */
  RCC_ClkInitStruct.ClockType = RCC_CLOCKTYPE_HCLK|RCC_CLOCKTYPE_SYSCLK
                              |RCC_CLOCKTYPE_PCLK1|RCC_CLOCKTYPE_PCLK2;
  RCC_ClkInitStruct.SYSCLKSource = RCC_SYSCLKSOURCE_PLLCLK;
  RCC_ClkInitStruct.AHBCLKDivider = RCC_SYSCLK_DIV1;
  RCC_ClkInitStruct.APB1CLKDivider = RCC_HCLK_DIV1;
  RCC_ClkInitStruct.APB2CLKDivider = RCC_HCLK_DIV1;

  if (HAL_RCC_ClockConfig(&RCC_ClkInitStruct, FLASH_LATENCY_4) != HAL_OK)
  {
    Error_Handler();
  }

  /** Enables the Clock Security System
  */
  HAL_RCC_EnableCSS();
}

/**
  * @brief NVIC Configuration.
  * @retval None
  */
static void MX_NVIC_Init(void)
{
  /* USART2_IRQn interrupt configuration */
  HAL_NVIC_SetPriority(USART2_IRQn, 3, 1);
  HAL_NVIC_EnableIRQ(USART2_IRQn);
  /* DMA1_Channel1_IRQn interrupt configuration */
  HAL_NVIC_SetPriority(DMA1_Channel1_IRQn, 3, 0);
  HAL_NVIC_EnableIRQ(DMA1_Channel1_IRQn);
  /* TIM1_BRK_TIM15_IRQn interrupt configuration */
  HAL_NVIC_SetPriority(TIM1_BRK_TIM15_IRQn, 4, 1);
  HAL_NVIC_EnableIRQ(TIM1_BRK_TIM15_IRQn);
  /* TIM1_UP_TIM16_IRQn interrupt configuration */
  HAL_NVIC_SetPriority(TIM1_UP_TIM16_IRQn, 0, 0);
  HAL_NVIC_EnableIRQ(TIM1_UP_TIM16_IRQn);
  /* ADC1_2_IRQn interrupt configuration */
  HAL_NVIC_SetPriority(ADC1_2_IRQn, 2, 0);
  HAL_NVIC_EnableIRQ(ADC1_2_IRQn);
  /* TIM2_IRQn interrupt configuration */
  HAL_NVIC_SetPriority(TIM2_IRQn, 3, 0);
  HAL_NVIC_EnableIRQ(TIM2_IRQn);
  /* EXTI15_10_IRQn interrupt configuration */
  HAL_NVIC_SetPriority(EXTI15_10_IRQn, 3, 0);
  HAL_NVIC_EnableIRQ(EXTI15_10_IRQn);
}

/* USER CODE BEGIN 4 */
void convert_angle(float angle, float *sin_component, float *cos_component) {
    // Apply sine and cosine functions
    float offset_angle = angle + M_PI;
    *sin_component = sinf(offset_angle);
    *cos_component = cosf(offset_angle);

}

float scale_vel(float rpm) {
    return rpm * (2 * M_PI / 60) / VEL_SCALE;
}
float clip(float value, float min, float max) {
    if (value < min) {
        return min;
    } else if (value > max) {
        return max;
    } else {
        return value;
    }
}
/* USER CODE END 4 */

void Error_Handler(void)
{
  __disable_irq();
  while (1)
  {
  }
}
